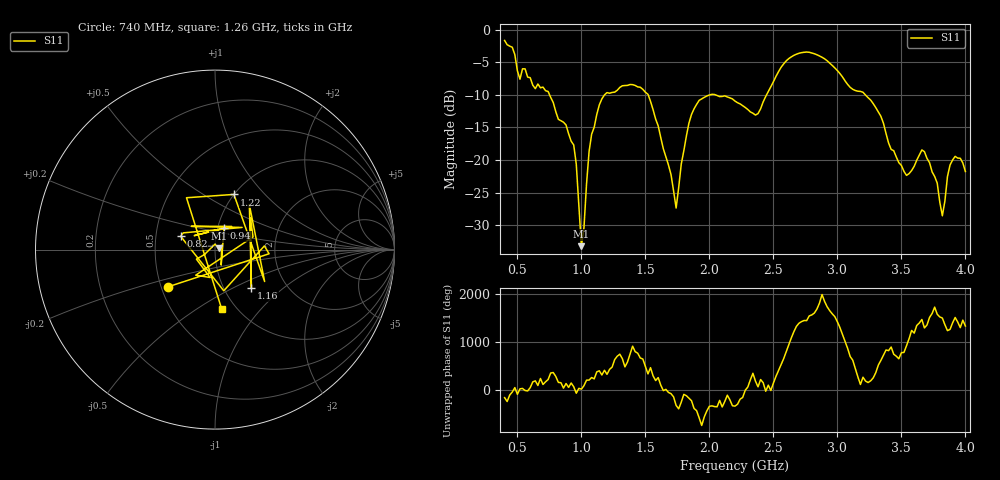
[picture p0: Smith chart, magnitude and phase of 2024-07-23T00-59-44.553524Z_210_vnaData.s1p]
!Created with skrf (http://scikit-rf.org).
# Hz S RI R 50.0
!freq ReS11 ImS11
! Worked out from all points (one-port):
!   181 points, 400 MHz to 4 GHz, reference 50 ohm
!   lowest |S11| = -33.2 dB at 1 GHz (marker M1), VSWR 1.04, Z = 52.1 + j0.714 ohm
!   |S11| at or under -10 dB: 751.2 MHz to 1.181 GHz (429.8 MHz wide, 44.5 % of centre); 1.521 GHz to 2.006 GHz (484.1 MHz wide, 27.5 % of centre); 3.218 GHz to end of sweep (the widest 3 of 4)
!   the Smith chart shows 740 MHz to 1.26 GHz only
!   S11 on the Smith chart (normalised r, x): 740 MHz: 0.54, -0.25; 820 MHz: 0.67, +0.10; 940 MHz: 1.07, +0.26; 1.16 GHz: 1.34, -0.63; 1.22 GHz: 1.00, +0.69; 1.26 GHz: 0.86, -0.64
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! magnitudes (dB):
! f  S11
! 400 MHz  -1.7
! 520 MHz  -7.6
! 740 MHz  -9.5
! 820 MHz  -13.8
! 860 MHz  -14.2
! 940 MHz  -17.7
! 960 MHz  -20.6
! 1 GHz  -33.2
! 1.06 GHz  -18.7
! 1.16 GHz  -10.6
! 1.22 GHz  -9.8
! 1.26 GHz  -9.6
! 1.3 GHz  -8.9
! 1.52 GHz  -9.9
! 1.74 GHz  -27.4
! 1.76 GHz  -24.2
! 1.84 GHz  -14.3
! 1.92 GHz  -10.9
! 2.2 GHz  -11.0
! 2.38 GHz  -12.9
! 2.66 GHz  -4.0
! 3.1 GHz  -8.9
! 3.28 GHz  -11.4
! 3.56 GHz  -22.1
! 3.68 GHz  -18.7
! 3.82 GHz  -28.5
! 3.9 GHz  -20.0
! 4 GHz  -21.8
